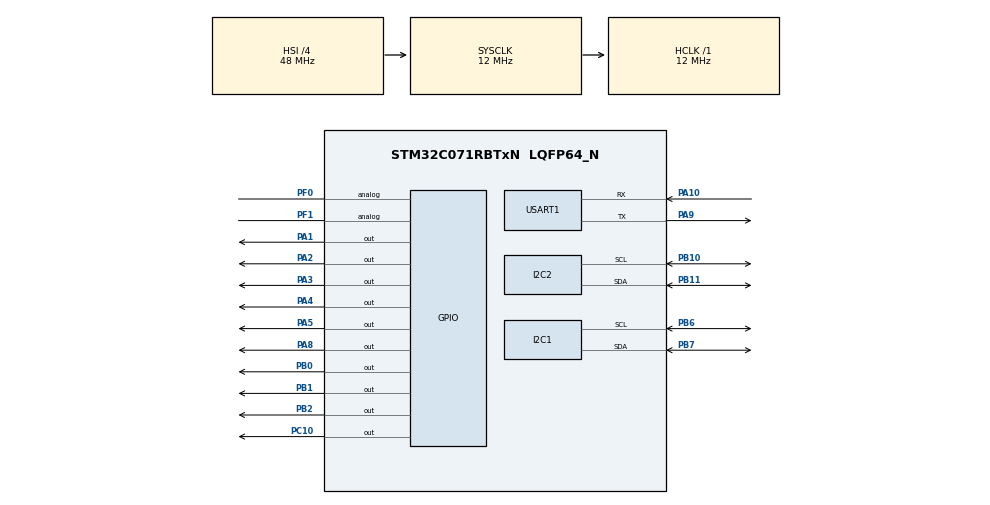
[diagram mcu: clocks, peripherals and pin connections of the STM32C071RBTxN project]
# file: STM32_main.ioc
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I2C1.Timing=0x00402D41
I2C2.Timing=0x00402D41
Mcu.Family=STM32C0
Mcu.Name=STM32C071RBTxN
Mcu.Package=LQFP64_N
NVIC.I2C2_IRQn=true\:0\:0\:false\:false\:true\:true\:true\:true
NVIC.USART1_IRQn=true\:0\:0\:false\:false\:true\:true\:true\:true
PA1.Signal=GPIO_Output
PA10.Mode=Asynchronous
PA10.Signal=USART1_RX
PA2.Signal=GPIO_Output
PA3.Signal=GPIO_Output
PA4.Signal=GPIO_Output
PA5.Signal=GPIO_Output
PA8.Signal=GPIO_Output
PA9.Mode=Asynchronous
PA9.Signal=USART1_TX
PB0.Signal=GPIO_Output
PB1.Signal=GPIO_Output
PB10.Mode=I2C
PB10.Signal=I2C2_SCL
PB11.Mode=I2C
PB11.Signal=I2C2_SDA
PB2.Signal=GPIO_Output
PB6.Mode=I2C
PB6.Signal=I2C1_SCL
PB7.Mode=I2C
PB7.Signal=I2C1_SDA
PC10.PinState=GPIO_PIN_SET
PC10.Signal=GPIO_Output
PF0-OSC_IN(PF0).Signal=GPIO_Analog
PF1-OSC_OUT(PF1).Signal=GPIO_Analog
ProjectManager.HeapSize=0x200
ProjectManager.StackSize=0x400
ProjectManager.TargetToolchain=STM32CubeIDE
RCC.ADCFreq_Value=12000000
RCC.AHBFreq_Value=12000000
RCC.CortexFreq_Value=12000000
RCC.EXTERNAL_CLOCK_VALUE=12288000
RCC.HCLKFreq_Value=12000000
RCC.HSE_VALUE=8000000
RCC.HSI48_VALUE=48000000
RCC.HSI_VALUE=48000000
RCC.LSE_VALUE=32768
RCC.SYSCLKFreq_VALUE=12000000
USART1.VirtualMode-Asynchronous=VM_ASYNC
board=custom

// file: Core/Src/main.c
/* USER CODE BEGIN Header */
/**
  ******************************************************************************
  * @file           : main.c
  * @brief          : Main program body
  ******************************************************************************
  * @attention
  *
  * Copyright (c) 2026 STMicroelectronics.
  * All rights reserved.
  *
  * This software is licensed under terms that can be found in the LICENSE file
  * in the root directory of this software component.
  * If no LICENSE file comes with this software, it is provided AS-IS.
  *
  ******************************************************************************
  */
/* USER CODE END Header */
#include "main.h"

/* USER CODE BEGIN Includes */
#include "test_utils.h"
#include "bist.h"
#include "firmware_crc.h"
#include <string.h>
#include <stdio.h>
#include <stdlib.h>
#include <ctype.h>
#include <stdarg.h>
/* USER CODE END Includes */

I2C_HandleTypeDef hi2c1;
I2C_HandleTypeDef hi2c2;

UART_HandleTypeDef huart1;

/* USER CODE BEGIN PV */
static uint8_t rx_ch;
static char line_buf[LINE_BUF_SIZE];
static uint32_t line_len = 0;

static ParsedState g_state;
static volatile uint8_t g_run_test = 0;
static volatile uint8_t g_run_bist = 0;
static volatile uint8_t g_start_script = 0;
static volatile uint8_t g_crc_start = 0;
static volatile uint8_t g_ping = 0;

static volatile uint8_t g_line_ready = 0;
static char cmd_buf[LINE_BUF_SIZE];

/*
 * Session caching for GUI scripts:
 * - PRM / VIN / INS / OUT changes mark session dirty
 * - VIP changes do NOT mark session dirty
 * - first TEST after dirty setup runs prepare stage
 * - later TEST calls with same structural setup skip prepare
 */
static uint8_t g_test_session_prepared = 0;
static uint8_t g_test_session_dirty = 1;
/* USER CODE END PV */

void SystemClock_Config(void);
static void MX_GPIO_Init(void);
static void MX_I2C1_Init(void);
static void MX_I2C2_Init(void);
static void MX_USART1_UART_Init(void);

/* USER CODE BEGIN 0 */
static uint8_t u8_array_equal(const uint8_t *a, const uint8_t *b, uint8_t n)
{
  for (uint8_t i = 0; i < n; i++) {
    if (a[i] != b[i]) return 0;
  }
  return 1;
}

static uint8_t ins_changed(const uint8_t *new_arr, uint8_t new_n)
{
  (void)new_arr;
  (void)new_n;
  return 0;
}

static uint8_t outs_changed(const uint8_t *new_arr, uint8_t new_n)
{
  (void)new_arr;
  (void)new_n;
  return 0;
}

static uint8_t vin_changed(int32_t low_mv, int32_t high_mv)
{
  (void)low_mv;
  (void)high_mv;

  /*
   * VIN changes do NOT invalidate the prepared session.
   * They only affect logic interpretation thresholds for this sub-test.
   */
  return 0;
}

static uint8_t prm_changed(uint8_t vcc_pin, uint8_t gnd_pin, int32_t vcc_mv)
{
  (void)vcc_mv;

  /*
   * VCC magnitude changes do NOT invalidate the prepared session.
   * Only changing which DUT pins are used for VCC/GND should force
   * a new calibration + fault-preflight session.
   */
  if (!g_state.prm_set) return 1;
  if (g_state.vcc_pin != vcc_pin) return 1;
  if (g_state.gnd_pin != gnd_pin) return 1;
  return 0;
}

static void uart_print(const char *s)
{
  HAL_UART_Transmit(&huart1, (uint8_t*)s, (uint16_t)strlen(s), HAL_MAX_DELAY);
}

static void uart_printf(const char *fmt, ...)
{
  char out[256];
  va_list args;
  va_start(args, fmt);
  vsnprintf(out, sizeof(out), fmt, args);
  va_end(args);
  uart_print(out);
}

static void invalidate_test_session(void)
{
  g_test_session_prepared = 0;
  g_test_session_dirty = 1;
}

// Trim whitespace in-place (leading + trailing)
static void trim(char *s)
{
  char *p = s;
  while (*p && isspace((unsigned char)*p)) p++;
  if (p != s) memmove(s, p, strlen(p) + 1);

  size_t n = strlen(s);
  while (n > 0 && isspace((unsigned char)s[n - 1])) {
    s[n - 1] = '\0';
    n--;
  }
}

static int parse_pin_list(const char *csv, uint8_t *arr, uint8_t *count_out)
{
  char tmp[LINE_BUF_SIZE];
  strncpy(tmp, csv, sizeof(tmp) - 1);
  tmp[sizeof(tmp) - 1] = '\0';

  uint8_t count = 0;
  char *save = NULL;
  char *tok = strtok_r(tmp, ",", &save);

  while (tok)
  {
    trim(tok);
    if (*tok == '\0') return -2;

    char *endp = NULL;
    long v = strtol(tok, &endp, 10);
    if (endp == tok) return -2;
    if (v < 1 || v > 20) return -3;
    if (count >= MAX_PINS) return -4;

    arr[count++] = (uint8_t)v;
    tok = strtok_r(NULL, ",", &save);
  }

  *count_out = count;
  return 0;
}

static int parse_vin_limits_mv(const char *csv, int32_t *low_mv, int32_t *high_mv)
{
  char tmp[LINE_BUF_SIZE];
  strncpy(tmp, csv, sizeof(tmp) - 1);
  tmp[sizeof(tmp) - 1] = '\0';

  char *save = NULL;
  char *a = strtok_r(tmp, ",", &save);
  char *b = strtok_r(NULL, ",", &save);
  if (!a || !b) return -2;

  trim(a);
  trim(b);
  if (*a == '\0' || *b == '\0') return -2;

  double lo = strtod(a, NULL);
  double hi = strtod(b, NULL);

  *low_mv  = (int32_t)(lo * 1000.0 + (lo >= 0 ? 0.5 : -0.5));
  *high_mv = (int32_t)(hi * 1000.0 + (hi >= 0 ? 0.5 : -0.5));
  return 0;
}

static int parse_prm(const char *csv,
                     uint8_t *vcc_pin_out,
                     uint8_t *gnd_pin_out,
                     int32_t *vcc_mv_out)
{
  char tmp[LINE_BUF_SIZE];
  strncpy(tmp, csv, sizeof(tmp) - 1);
  tmp[sizeof(tmp) - 1] = '\0';

  char *save = NULL;
  char *a = strtok_r(tmp, ",", &save);
  char *b = strtok_r(NULL, ",", &save);
  char *c = strtok_r(NULL, ",", &save);

  if (!a || !b || !c) return -2;

  trim(a);
  trim(b);
  trim(c);
  if (*a == '\0' || *b == '\0' || *c == '\0') return -2;

  char *endp1 = NULL;
  char *endp2 = NULL;
  long vcc = strtol(a, &endp1, 10);
  long gnd = strtol(b, &endp2, 10);
  if (endp1 == a || endp2 == b) return -2;

  if (vcc < 1 || vcc > 20) return -3;
  if (gnd < 1 || gnd > 20) return -3;

  double v = strtod(c, NULL);
  int32_t mv = (int32_t)(v * 1000.0 + (v >= 0 ? 0.5 : -0.5));

  *vcc_pin_out = (uint8_t)vcc;
  *gnd_pin_out = (uint8_t)gnd;
  *vcc_mv_out  = mv;
  return 0;
}

static void normalize_vip_bin_lengths(ParsedState *st)
{
  size_t max_len = 0;

  if (st == NULL) return;

  for (uint8_t i = 0; i < st->n_vip; i++)
  {
    if (st->vip_kind[i] == VIP_KIND_BIN)
    {
      size_t len = strlen(st->vip_bin[i]);
      if (len >= 2) {
        len -= 2;
        if (len > max_len) {
          max_len = len;
        }
      }
    }
  }

  if (max_len == 0) {
    return;
  }

  for (uint8_t i = 0; i < st->n_vip; i++)
  {
    if (st->vip_kind[i] == VIP_KIND_BIN)
    {
      char padded[VIP_BIN_MAX];
      const char *src = st->vip_bin[i] + 2;
      size_t cur_len = strlen(src);

      if (cur_len >= max_len) {
        continue;
      }

      size_t out_idx = 0;
      padded[out_idx++] = '0';
      padded[out_idx++] = 'b';

      for (size_t j = 0; j < cur_len; j++) {
        padded[out_idx++] = src[j];
      }

      while ((out_idx - 2) < max_len) {
        padded[out_idx++] = '0';
      }

      padded[out_idx] = '\0';

      strncpy(st->vip_bin[i], padded, VIP_BIN_MAX - 1);
      st->vip_bin[i][VIP_BIN_MAX - 1] = '\0';
    }
  }
}

static int parse_vip_token(const char *tok_in,
                           VipKind *kind_out,
                           int32_t *mv_out,
                           uint32_t *clk_mhz_out,
                           char bin_out[VIP_BIN_MAX])
{
  char tok[VIP_BIN_MAX];
  strncpy(tok, tok_in, sizeof(tok) - 1);
  tok[sizeof(tok) - 1] = '\0';
  trim(tok);

  if (*tok == '\0') return -2;

  if (strncmp(tok, "CLK", 3) == 0)
  {
    const char *p = tok + 3;
    if (*p == '\0') return -2;

    for (const char *q = p; *q; q++) {
      if (!isdigit((unsigned char)*q)) return -2;
    }

    long mhz = strtol(p, NULL, 10);
    if (mhz <= 0 || mhz > 1000) return -3;

    *kind_out = VIP_KIND_CLK;
    *clk_mhz_out = (uint32_t)mhz;
    return 0;
  }

  if (strncmp(tok, "0b", 2) == 0)
  {
    const char *p = tok + 2;
    if (*p == '\0') return -2;

    size_t n = strlen(p);
    if (n > 32) return -4;

    for (const char *q = p; *q; q++) {
      if (*q != '0' && *q != '1' && *q != 'R' && *q != 'F') {
        return -2;
      }
    }

    *kind_out = VIP_KIND_BIN;
    strncpy(bin_out, tok, VIP_BIN_MAX - 1);
    bin_out[VIP_BIN_MAX - 1] = '\0';
    return 0;
  }

  double v = strtod(tok, NULL);
  int32_t mv = (int32_t)(v * 1000.0 + (v >= 0 ? 0.5 : -0.5));

  *kind_out = VIP_KIND_VOLT;
  *mv_out = mv;
  return 0;
}

static int parse_vip_list(const char *csv,
                          VipKind *kinds,
                          int32_t *mv_arr,
                          uint32_t *clk_arr,
                          char bin_arr[MAX_PINS][VIP_BIN_MAX],
                          uint8_t *count_out)
{
  char tmp[LINE_BUF_SIZE];
  strncpy(tmp, csv, sizeof(tmp) - 1);
  tmp[sizeof(tmp) - 1] = '\0';

  uint8_t count = 0;
  char *save = NULL;
  char *tok = strtok_r(tmp, ",", &save);

  while (tok)
  {
    if (count >= MAX_PINS) return -4;
    trim(tok);
    if (*tok == '\0') return -2;

    kinds[count] = VIP_KIND_NONE;
    mv_arr[count] = 0;
    clk_arr[count] = 0;
    bin_arr[count][0] = '\0';

    int rc = parse_vip_token(tok,
                             &kinds[count],
                             &mv_arr[count],
                             &clk_arr[count],
                             bin_arr[count]);
    if (rc != 0) return rc;

    count++;
    tok = strtok_r(NULL, ",", &save);
  }

  *count_out = count;
  return 0;
}

static void handle_command_line(char *line)
{
  trim(line);
  if (*line == '\0') return;

  if (strcmp(line, "PING") == 0)
  {
	  uart_print("OK PING\r\n");
	  g_ping = 1;
	  return;
  }

  if (strcmp(line, "TEST") == 0)
  {
    uart_print("OK TEST\r\n");
    g_run_test = 1;
    return;
  }

  if (strcmp(line, "BIST") == 0)
  {
    uart_print("OK BIST\r\n");
    g_run_bist = 1;
    return;
  }
  if (strcmp(line, "START") == 0)
  {
	  uart_print("OK START\r\n");
	  g_start_script=1;
	  return;
    }

  if (strcmp(line, "FWCRC") == 0)
  {
	  uart_print("OK FWCRC\r\n");
	  g_crc_start=1;
	  return;
  }

  char *colon = strchr(line, ':');
  if (!colon) {
    uart_print("ERR no_colon\r\n");
    return;
  }

  *colon = '\0';
  char *cmd = line;
  char *params = colon + 1;
  trim(cmd);
  trim(params);

  if (strcmp(cmd, "INS") == 0)
  {
    uint8_t parsed_ins[MAX_PINS];
    uint8_t parsed_n = 0;

    int rc = parse_pin_list(params, parsed_ins, &parsed_n);
    if (rc == 0) {
      uint8_t changed = ins_changed(parsed_ins, parsed_n);

      memcpy(g_state.ins, parsed_ins, sizeof(parsed_ins));
      g_state.n_ins = parsed_n;

      uart_printf("OK INS n=%u\r\n", g_state.n_ins);

      if (changed) {
        invalidate_test_session();
      }
    } else {
      uart_printf("ERR INS rc=%d\r\n", rc);
    }
    return;
  }

  if (strcmp(cmd, "OUT") == 0)
  {
    uint8_t parsed_outs[MAX_PINS];
    uint8_t parsed_n = 0;

    int rc = parse_pin_list(params, parsed_outs, &parsed_n);
    if (rc == 0) {
      uint8_t changed = outs_changed(parsed_outs, parsed_n);

      memcpy(g_state.outs, parsed_outs, sizeof(parsed_outs));
      g_state.n_outs = parsed_n;

      uart_printf("OK OUT n=%u\r\n", g_state.n_outs);

      if (changed) {
        invalidate_test_session();
      }
    } else {
      uart_printf("ERR OUT rc=%d\r\n", rc);
    }
    return;
  }

  if (strcmp(cmd, "VIN") == 0)
  {
    int32_t lo_mv = 0, hi_mv = 0;
    int rc = parse_vin_limits_mv(params, &lo_mv, &hi_mv);
    if (rc == 0) {
      uint8_t changed = vin_changed(lo_mv, hi_mv);

      g_state.vin_low_mv  = lo_mv;
      g_state.vin_high_mv = hi_mv;
      g_state.vin_set     = 1;

      uart_print("OK VIN\r\n");

      if (changed) {
        invalidate_test_session();
      }
    } else {
      uart_printf("ERR VIN rc=%d\r\n", rc);
    }
    return;
  }

  if (strcmp(cmd, "PRM") == 0)
  {
    uint8_t vcc = 0, gnd = 0;
    int32_t vcc_mv = 0;

    int rc = parse_prm(params, &vcc, &gnd, &vcc_mv);
    if (rc == 0) {
      uint8_t changed = prm_changed(vcc, gnd, vcc_mv);

      g_state.vcc_pin = vcc;
      g_state.gnd_pin = gnd;
      g_state.vcc_mv  = vcc_mv;
      g_state.prm_set = 1;

      uart_print("OK PRM\r\n");

      if (changed) {
        invalidate_test_session();
      }
    } else {
      uart_printf("ERR PRM rc=%d\r\n", rc);
    }
    return;
  }

  if (strcmp(cmd, "VIP") == 0)
  {
    int rc = parse_vip_list(params,
                            g_state.vip_kind,
                            g_state.vip_mv,
                            g_state.vip_clk_mhz,
                            g_state.vip_bin,
                            &g_state.n_vip);
    if (rc == 0) {
      uart_printf("OK VIP n=%u\r\n", g_state.n_vip);
      normalize_vip_bin_lengths(&g_state);
      /* VIP changes do NOT invalidate test session */
    } else {
      uart_printf("ERR VIP rc=%d\r\n", rc);
    }
    return;
  }

  uart_print("ERR unknown_cmd\r\n");
}
/* USER CODE END 0 */

int main(void)
{
  HAL_Init();
  SystemClock_Config();

  MX_GPIO_Init();
  MX_I2C1_Init();
  MX_I2C2_Init();
  MX_USART1_UART_Init();

  /* USER CODE BEGIN 2 */
  memset(&g_state, 0, sizeof(g_state));
  uart_print("READY\r\n");
  HAL_UART_Receive_IT(&huart1, &rx_ch, 1);
  /* USER CODE END 2 */

  while (1)
  {

	  if (g_line_ready)
	  {
		g_line_ready = 0;
		handle_command_line(cmd_buf);
	  }

	  if (g_ping)
	  {
		  g_ping = 0;
		  uart_printf("Device is ready\r\n");
	  }

	  if (g_crc_start){
		  g_crc_start=0;
		  //run the checksum
		  uint32_t crc = firmware_crc32();
		  uart_printf("FW CRC32=0x%08lX\r\n", crc);

	  }

    if (g_run_test)
    {
      g_run_test = 0;

      //if its the start of a script (START is passed),
      //then run adc cal and fault check
      if (g_start_script==1)
      {
        if (Test_PrepareIfNeeded(&g_state) == HAL_OK)
        {
        	g_start_script=0;
        	Test(&g_state);
        }
      }
      else{
    	  //run test
    	  Test(&g_state);

      }

    }

    if (g_run_bist)
    {
      g_run_bist = 0;
      Run_BIST();

      /* BIST changes hardware state; force next TEST to prepare again */
      invalidate_test_session();
    }
  }
}

void SystemClock_Config(void)
{
  RCC_OscInitTypeDef RCC_OscInitStruct = {0};
  RCC_ClkInitTypeDef RCC_ClkInitStruct = {0};

  __HAL_FLASH_SET_LATENCY(FLASH_LATENCY_0);

  RCC_OscInitStruct.OscillatorType = RCC_OSCILLATORTYPE_HSI;
  RCC_OscInitStruct.HSIState = RCC_HSI_ON;
  RCC_OscInitStruct.HSIDiv = RCC_HSI_DIV4;
  RCC_OscInitStruct.HSICalibrationValue = RCC_HSICALIBRATION_DEFAULT;
  if (HAL_RCC_OscConfig(&RCC_OscInitStruct) != HAL_OK)
  {
    Error_Handler();
  }

  RCC_ClkInitStruct.ClockType = RCC_CLOCKTYPE_HCLK|RCC_CLOCKTYPE_SYSCLK
                              |RCC_CLOCKTYPE_PCLK1;
  RCC_ClkInitStruct.SYSCLKSource = RCC_SYSCLKSOURCE_HSI;
  RCC_ClkInitStruct.SYSCLKDivider = RCC_SYSCLK_DIV1;
  RCC_ClkInitStruct.AHBCLKDivider = RCC_HCLK_DIV1;
  RCC_ClkInitStruct.APB1CLKDivider = RCC_APB1_DIV1;

  if (HAL_RCC_ClockConfig(&RCC_ClkInitStruct, FLASH_LATENCY_0) != HAL_OK)
  {
    Error_Handler();
  }
}

static void MX_I2C1_Init(void)
{
  hi2c1.Instance = I2C1;
  hi2c1.Init.Timing = 0x00402D41;
  hi2c1.Init.OwnAddress1 = 0;
  hi2c1.Init.AddressingMode = I2C_ADDRESSINGMODE_7BIT;
  hi2c1.Init.DualAddressMode = I2C_DUALADDRESS_DISABLE;
  hi2c1.Init.OwnAddress2 = 0;
  hi2c1.Init.OwnAddress2Masks = I2C_OA2_NOMASK;
  hi2c1.Init.GeneralCallMode = I2C_GENERALCALL_DISABLE;
  hi2c1.Init.NoStretchMode = I2C_NOSTRETCH_DISABLE;
  if (HAL_I2C_Init(&hi2c1) != HAL_OK)
  {
    Error_Handler();
  }

  if (HAL_I2CEx_ConfigAnalogFilter(&hi2c1, I2C_ANALOGFILTER_ENABLE) != HAL_OK)
  {
    Error_Handler();
  }

  if (HAL_I2CEx_ConfigDigitalFilter(&hi2c1, 0) != HAL_OK)
  {
    Error_Handler();
  }
}

static void MX_I2C2_Init(void)
{
  hi2c2.Instance = I2C2;
  hi2c2.Init.Timing = 0x00402D41;
  hi2c2.Init.OwnAddress1 = 0;
  hi2c2.Init.AddressingMode = I2C_ADDRESSINGMODE_7BIT;
  hi2c2.Init.DualAddressMode = I2C_DUALADDRESS_DISABLE;
  hi2c2.Init.OwnAddress2 = 0;
  hi2c2.Init.OwnAddress2Masks = I2C_OA2_NOMASK;
  hi2c2.Init.GeneralCallMode = I2C_GENERALCALL_DISABLE;
  hi2c2.Init.NoStretchMode = I2C_NOSTRETCH_DISABLE;
  if (HAL_I2C_Init(&hi2c2) != HAL_OK)
  {
    Error_Handler();
  }

  if (HAL_I2CEx_ConfigAnalogFilter(&hi2c2, I2C_ANALOGFILTER_ENABLE) != HAL_OK)
  {
    Error_Handler();
  }

  if (HAL_I2CEx_ConfigDigitalFilter(&hi2c2, 0) != HAL_OK)
  {
    Error_Handler();
  }
}

static void MX_USART1_UART_Init(void)
{
  huart1.Instance = USART1;
  huart1.Init.BaudRate = 115200;
  huart1.Init.WordLength = UART_WORDLENGTH_8B;
  huart1.Init.StopBits = UART_STOPBITS_1;
  huart1.Init.Parity = UART_PARITY_NONE;
  huart1.Init.Mode = UART_MODE_TX_RX;
  huart1.Init.HwFlowCtl = UART_HWCONTROL_NONE;
  huart1.Init.OverSampling = UART_OVERSAMPLING_16;
  huart1.Init.OneBitSampling = UART_ONE_BIT_SAMPLE_DISABLE;
  huart1.Init.ClockPrescaler = UART_PRESCALER_DIV1;
  huart1.AdvancedInit.AdvFeatureInit = UART_ADVFEATURE_NO_INIT;
  if (HAL_UART_Init(&huart1) != HAL_OK)
  {
    Error_Handler();
  }
  if (HAL_UARTEx_SetTxFifoThreshold(&huart1, UART_TXFIFO_THRESHOLD_1_8) != HAL_OK)
  {
    Error_Handler();
  }
  if (HAL_UARTEx_SetRxFifoThreshold(&huart1, UART_RXFIFO_THRESHOLD_1_8) != HAL_OK)
  {
    Error_Handler();
  }
  if (HAL_UARTEx_DisableFifoMode(&huart1) != HAL_OK)
  {
    Error_Handler();
  }
}

static void MX_GPIO_Init(void)
{
  GPIO_InitTypeDef GPIO_InitStruct = {0};

  __HAL_RCC_GPIOF_CLK_ENABLE();
  __HAL_RCC_GPIOA_CLK_ENABLE();
  __HAL_RCC_GPIOB_CLK_ENABLE();
  __HAL_RCC_GPIOC_CLK_ENABLE();

  HAL_GPIO_WritePin(GPIOA, GPIO_PIN_1|GPIO_PIN_2|GPIO_PIN_3|GPIO_PIN_4
                          |GPIO_PIN_5|GPIO_PIN_8, GPIO_PIN_RESET);

  HAL_GPIO_WritePin(GPIOB, GPIO_PIN_0|GPIO_PIN_1|GPIO_PIN_2, GPIO_PIN_RESET);

  HAL_GPIO_WritePin(GPIOC, GPIO_PIN_10, GPIO_PIN_SET);

  GPIO_InitStruct.Pin = GPIO_PIN_0|GPIO_PIN_1;
  GPIO_InitStruct.Mode = GPIO_MODE_ANALOG;
  GPIO_InitStruct.Pull = GPIO_NOPULL;
  HAL_GPIO_Init(GPIOF, &GPIO_InitStruct);

  GPIO_InitStruct.Pin = GPIO_PIN_1|GPIO_PIN_2|GPIO_PIN_3|GPIO_PIN_4
                          |GPIO_PIN_5|GPIO_PIN_8;
  GPIO_InitStruct.Mode = GPIO_MODE_OUTPUT_PP;
  GPIO_InitStruct.Pull = GPIO_NOPULL;
  GPIO_InitStruct.Speed = GPIO_SPEED_FREQ_LOW;
  HAL_GPIO_Init(GPIOA, &GPIO_InitStruct);

  GPIO_InitStruct.Pin = GPIO_PIN_0|GPIO_PIN_1|GPIO_PIN_2;
  GPIO_InitStruct.Mode = GPIO_MODE_OUTPUT_PP;
  GPIO_InitStruct.Pull = GPIO_NOPULL;
  GPIO_InitStruct.Speed = GPIO_SPEED_FREQ_LOW;
  HAL_GPIO_Init(GPIOB, &GPIO_InitStruct);

  GPIO_InitStruct.Pin = GPIO_PIN_10;
  GPIO_InitStruct.Mode = GPIO_MODE_OUTPUT_PP;
  GPIO_InitStruct.Pull = GPIO_NOPULL;
  GPIO_InitStruct.Speed = GPIO_SPEED_FREQ_LOW;
  HAL_GPIO_Init(GPIOC, &GPIO_InitStruct);
}

/* USER CODE BEGIN 4 */
void HAL_UART_RxCpltCallback(UART_HandleTypeDef *huart)
{
  if (huart->Instance == USART1)
  {
    char c = (char)rx_ch;

    if (c == '\r') {
      /* ignore CR */
    }
    else if (c == '\n')
    {
      line_buf[line_len] = '\0';

      strncpy(cmd_buf, line_buf, sizeof(cmd_buf) - 1);
      cmd_buf[sizeof(cmd_buf) - 1] = '\0';

      line_len = 0;
      g_line_ready = 1;
    }
    else
    {
      if (line_len < (LINE_BUF_SIZE - 1)) {
        line_buf[line_len++] = c;
      } else {
        line_len = 0;
        uart_print("ERR line_overflow\r\n");
      }
    }

    HAL_UART_Receive_IT(&huart1, &rx_ch, 1);
  }
}
/* USER CODE END 4 */

void Error_Handler(void)
{
  __disable_irq();
  while (1)
  {
  }
}
